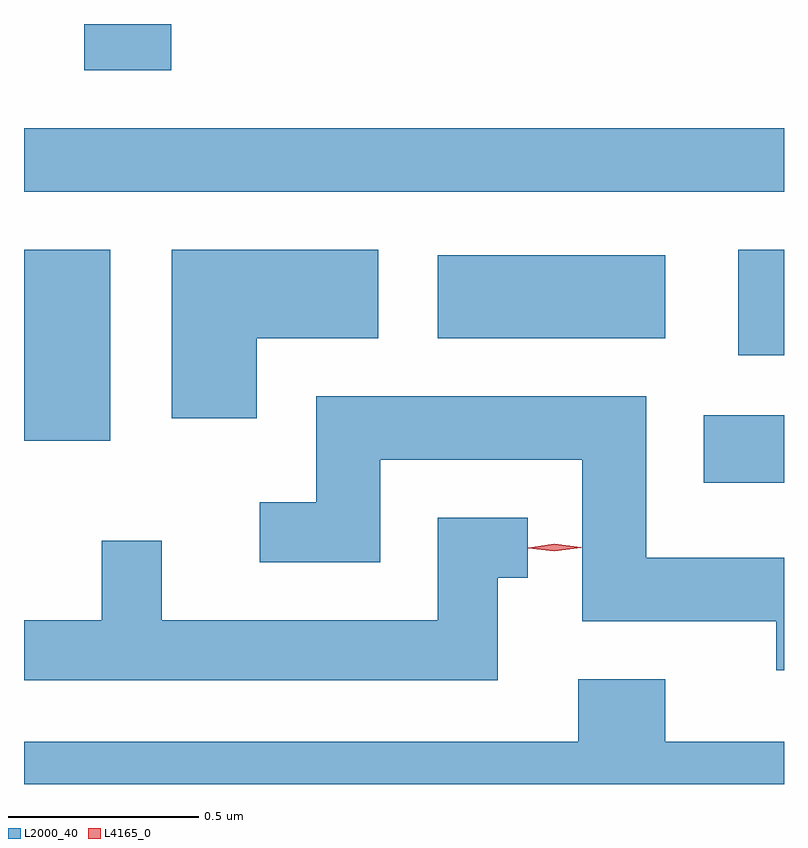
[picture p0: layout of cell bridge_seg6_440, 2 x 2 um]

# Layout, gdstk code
import gdstk
lib = gdstk.Library(unit=1e-6, precision=1e-09)
def R(c, l, rs):  # rectangles x0, y0, x1, y1
    for r in rs: c.add(gdstk.rectangle(r[:2], r[2:], *l))
def P(c, l, *ps):  # polygons
    for p in ps: c.add(gdstk.Polygon(p, *l))
L2000_40 = (2000, 40)
L4165_0 = (4165, 0)

bridge_seg6_440 = lib.new_cell('bridge_seg6_440')
R(bridge_seg6_440, L2000_40, [(905.691,1608.706,905.902,1608.884), (903.902,1608.816,904.129,1609.319), (905.781,1609.041,905.902,1609.319), (904.991,1609.086,905.589,1609.304), (903.902,1609.471,905.902,1609.639), (904.061,1609.791,904.289,1609.913)])
P(bridge_seg6_440, L2000_40, [(904.514,1609.086),(904.834,1609.086),(904.834,1609.319),(904.291,1609.319),(904.291,1608.876),(904.514,1608.876)],
  [(905.902,1608.509),(905.539,1608.509),(905.539,1608.934),(904.671,1608.934),(904.671,1608.654),(904.523,1608.654),(904.523,1608.496),(904.839,1608.496),(904.839,1608.766),(905.371,1608.766),(905.371,1608.341),(905.881,1608.341),(905.881,1608.213),(905.902,1608.213)],
  [(905.149,1608.456),(905.228,1608.456),(905.228,1608.614),(904.991,1608.614),(904.991,1608.344),(904.264,1608.344),(904.264,1608.553),(904.106,1608.553),(904.106,1608.344),(903.902,1608.344),(903.902,1608.186),(905.149,1608.186)],
  [(905.902,1608.024),(905.589,1608.024),(905.589,1608.189),(905.361,1608.189),(905.361,1608.024),(903.902,1608.024),(903.902,1607.913),(905.902,1607.913)])
P(bridge_seg6_440, L4165_0, [(905.298,1608.525),(905.229,1608.534),(905.229,1608.535),(905.229,1608.535),(905.298,1608.545),(905.368,1608.536),(905.368,1608.536),(905.368,1608.535)])

lib.write_gds('bridge_seg6_440.gds')
